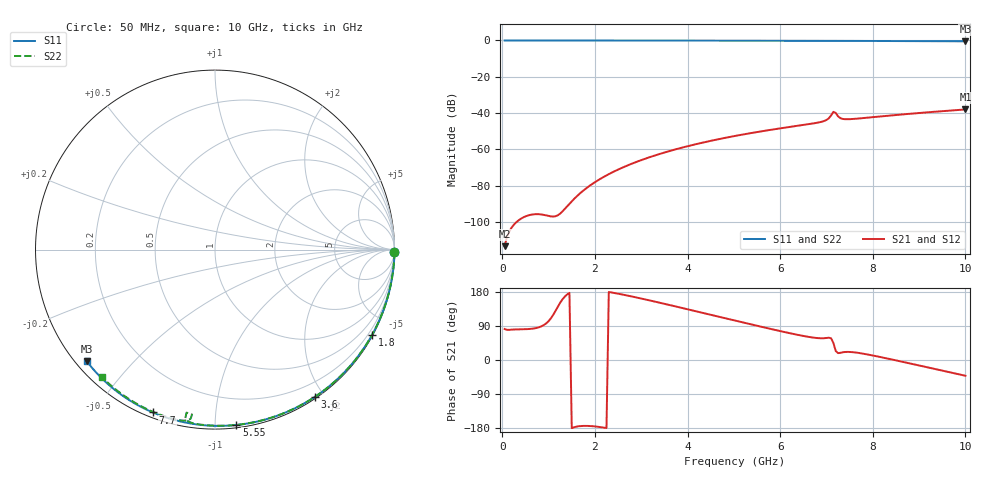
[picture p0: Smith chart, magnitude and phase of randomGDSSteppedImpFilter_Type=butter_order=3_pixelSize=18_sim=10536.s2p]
! freq	dB(S11)	phase(S11)	dB(S12)	phase(S12)
!  dB(S21)	phase(S21)	dB(S22)	phase(S22)
!S-par simulation data
#  GHz  S  DB  R 50
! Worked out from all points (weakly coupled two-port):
!   200 points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, 50 MHz to 10 GHz, reference 50 ohm
!   highest |S21| = -38.04 dB at 10 GHz (marker M1); lowest = -113.4 dB at 50 MHz (marker M2)
!   lowest |S11| = -0.5 dB at 10 GHz (marker M3), VSWR 36.96, Z = 1.54 - j18.7 ohm
!   |S11| at or under -10 dB: nowhere
!   |S22| runs from -0.7 to 0.0 dB; largest |S21 - S12| = 0
!   S11 on the Smith chart (normalised r, x): 50 MHz: open; 1.8 GHz: 0.03, -3.93; 3.6 GHz: 0.02, -1.89; 5.55 GHz: 0.02, -1.13; 7.7 GHz: 0.02, -0.69; 10 GHz: 0.03, -0.37
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0.05  -0.00 -0.8  -113.40 81.9  -113.40 81.9  -0.00 -0.8
0.9  -0.02 -14.4  -96.16 92.5  -96.16 92.5  -0.02 -13.6
1.75  -0.04 -27.7  -82.75 -173.9  -82.75 -173.9  -0.03 -26.2
1.8  -0.04 -28.5  -81.73 -173.8  -81.73 -173.8  -0.03 -27.0
1.9  -0.04 -30.1  -79.86 -174.3  -79.86 -174.3  -0.04 -28.4
2.25  -0.05 -35.5  -74.36 -179.5  -74.36 -179.5  -0.04 -33.6
2.65  -0.05 -41.6  -69.47 171.4  -69.47 171.4  -0.05 -39.3
3.4  -0.07 -52.8  -62.55 151.1  -62.55 151.1  -0.07 -50.0
3.6  -0.07 -55.7  -61.03 145.4  -61.03 145.4  -0.07 -52.8
4.3  -0.09 -65.8  -56.47 125.2  -56.47 125.2  -0.09 -62.4
5.05  -0.12 -76.3  -52.52 103.3  -52.52 103.3  -0.11 -72.3
5.55  -0.14 -83.1  -50.27 88.9  -50.27 88.9  -0.13 -78.9
6.7  -0.19 -98.2  -45.80 59.3  -45.80 59.3  -0.18 -93.6
7  -0.21 -102.1  -43.82 58.1  -43.82 58.1  -0.24 -98.0
7.05  -0.21 -102.7  -42.92 58.8  -42.92 58.8  -0.29 -98.9
7.15  -0.22 -104.0  -39.34 44.8  -39.34 44.8  -0.70 -99.9
7.2  -0.22 -104.6  -39.95 23.9  -39.95 23.9  -0.65 -97.9
7.25  -0.22 -105.2  -41.82 18.1  -41.82 18.1  -0.42 -98.2
7.35  -0.23 -106.5  -43.25 20.3  -43.25 20.3  -0.29 -100.0
7.7  -0.25 -110.9  -43.01 18.6  -43.01 18.6  -0.26 -104.7
8.35  -0.30 -119.0  -41.44 3.0  -41.44 3.0  -0.30 -112.6
10  -0.47 -139.0  -38.04 -41.6  -38.04 -41.6  -0.45 -131.5
